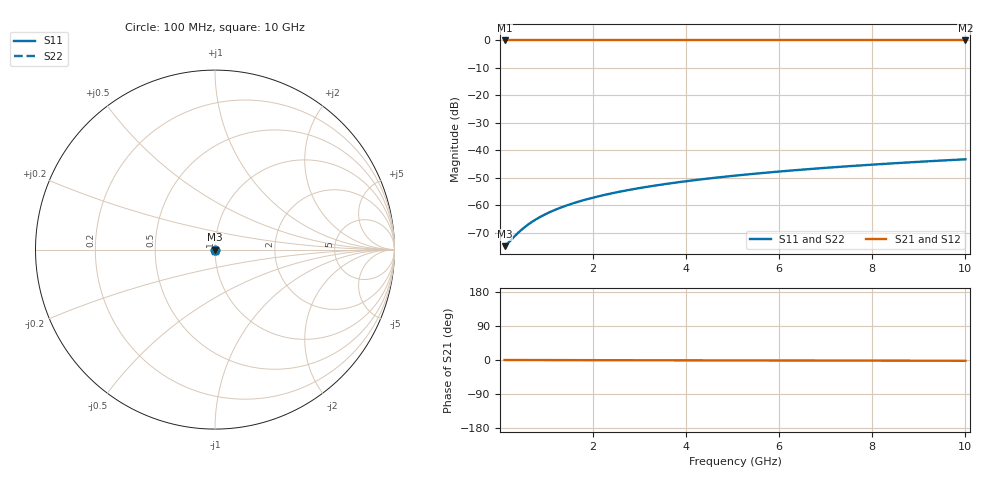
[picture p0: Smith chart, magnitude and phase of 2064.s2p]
# Hz S RI R 50.00
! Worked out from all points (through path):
!   100 points, 100 MHz to 10 GHz, reference 50 ohm
!   highest |S21| = 0.00 dB at 100 MHz (marker M1); lowest = 0.0 dB at 10 GHz (marker M2)
!   lowest |S11| = -74.8 dB at 100 MHz (marker M3), VSWR 1.00, Z = 50 - j0.00686 ohm
!   |S11| at or under -10 dB: start of sweep to end of sweep
!   |S22| runs from -74.8 to -43.2 dB; largest |S21 - S12| = 0
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1e8  0.000168 -6.86e-05  0.9998 -0.000367  0.9998 -0.000367  0.000168 -6.86e-05
2e8  0.000168 -0.000137  0.9998 -0.000734  0.9998 -0.000734  0.000168 -0.000137
4e8  0.000169 -0.000274  0.9998 -0.00147  0.9998 -0.00147  0.000169 -0.000274
5e8  0.000169 -0.000343  0.9998 -0.00184  0.9998 -0.00184  0.000169 -0.000343
6e8  0.000169 -0.000411  0.9998 -0.0022  0.9998 -0.0022  0.000169 -0.000411
7e8  0.000169 -0.00048  0.9998 -0.00257  0.9998 -0.00257  0.000169 -0.00048
8e8  0.000169 -0.000549  0.9998 -0.00294  0.9998 -0.00294  0.000169 -0.000549
1e9  0.000169 -0.000686  0.9998 -0.00367  0.9998 -0.00367  0.000169 -0.000686
1.2e9  0.000168 -0.000823  0.9998 -0.00441  0.9998 -0.00441  0.000168 -0.000823
1.5e9  0.000166 -0.00103  0.9998 -0.00551  0.9998 -0.00551  0.000166 -0.00103
1.8e9  0.000164 -0.00123  0.9998 -0.00661  0.9998 -0.00661  0.000164 -0.00123
2.1e9  0.000161 -0.00144  0.9998 -0.00771  0.9998 -0.00771  0.000161 -0.00144
2.5e9  0.000157 -0.00172  0.9998 -0.00918  0.9998 -0.00918  0.000157 -0.00172
2.9e9  0.000151 -0.00199  0.9998 -0.0106  0.9998 -0.0106  0.000151 -0.00199
3.4e9  0.000144 -0.00233  0.9997 -0.0125  0.9997 -0.0125  0.000144 -0.00233
4.2e9  0.000128 -0.00288  0.9997 -0.0154  0.9997 -0.0154  0.000128 -0.00288
5.1e9  0.000107 -0.0035  0.9996 -0.0187  0.9996 -0.0187  0.000107 -0.0035
5.9e9  8.49e-05 -0.00406  0.9996 -0.0217  0.9996 -0.0217  8.49e-05 -0.00406
6.7e9  5.94e-05 -0.00461  0.9995 -0.0246  0.9995 -0.0246  5.94e-05 -0.00461
7.5e9  3.05e-05 -0.00516  0.9994 -0.0276  0.9994 -0.0276  3.05e-05 -0.00516
8.4e9  -5.81e-06 -0.00578  0.9993 -0.0309  0.9993 -0.0309  -5.81e-06 -0.00578
1e10  -8.07e-05 -0.00689  0.9991 -0.0368  0.9991 -0.0368  -8.07e-05 -0.00689
